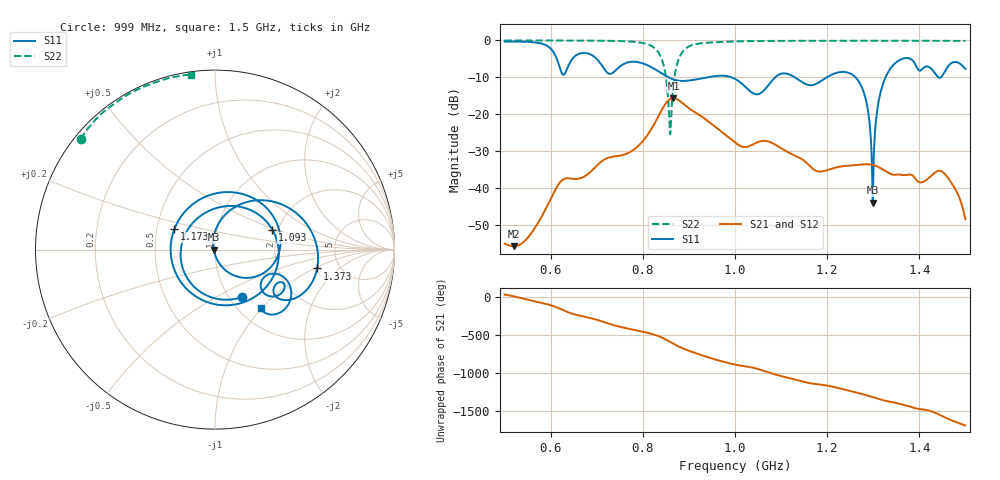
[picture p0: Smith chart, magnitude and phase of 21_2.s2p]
! TOUCHSTONE file generated by CST MICROWAVE STUDIO
! Date and time: Mon Nov 30 09:08:33 2020
! Project name: Scenario_1_Planar_Body_Tissue_Out_of_Line_v2.cst
! Parameters = {dy1=0; L_HA=400; Ltissue=700; MT=2.54; Rad_Dielectric=30; Rad_Lower=7.3; Rad_Upper=30; Wtissue=700; a_HA=580; a_WG=246; b_HA=500; b_WG=121; c_HA=0; c_WG=187; d_feed=85; dx1=346; h_feed=15; h_lower=18; h_upper=40; hfat=3; hgap=25; hmuscle=50; hskin=1.5}
! Header version: 2018
! Port assignment regex: !\s*Touchstone port\s*([0-9]+)\s*=\s*(CST MWS port|CST DS port)\s*([0-9]+|Zmin|Zmax)\s*\(\"(.*)\"\)(\s*mode\s*([0-9]+))?.*
! Touchstone port assignment:
! Touchstone port 1 = CST MWS port 1 ("")
! Touchstone port 2 = CST MWS port 2 ("")
# GHz S DB R 50
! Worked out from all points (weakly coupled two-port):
!   1003 points, 500 MHz to 1.5 GHz, reference 50 ohm
!   highest |S21| = -15.65 dB at 866.5 MHz (marker M1); lowest = -55.7 dB at 520 MHz (marker M2)
!   lowest |S11| = -43.9 dB at 1.299 GHz (marker M3), VSWR 1.01, Z = 49.4 - j0.0504 ohm
!   |S11| at or under -10 dB: 855.9 MHz to 940.1 MHz (84.24 MHz wide, 9.38 % of centre); 992.6 MHz to 1.087 GHz (94.51 MHz wide, 9.09 % of centre); 1.13 GHz to 1.199 GHz (69.27 MHz wide, 5.95 % of centre)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
!   |S22| runs from -25.4 to 0.0 dB; largest |S21 - S12| = 5.1e-05
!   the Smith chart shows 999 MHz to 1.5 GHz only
!   S11 on the Smith chart (normalised r, x): 999 MHz: 1.15, -0.67; 1.093 GHz: 1.87, +0.47; 1.173 GHz: 0.62, +0.15; 1.373 GHz: 3.38, -1.07; 1.5 GHz: 1.25, -0.98
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0.5  -0.30 -121.7  -55.02 35.9  -55.02 35.9  -0.01 151.1
0.52  -0.30 -130.3  -55.71 12.0  -55.70 12.0  -0.01 149.8
0.667  -3.44 156.9  -37.21 112.4  -37.21 112.5  -0.04 138.4
0.716  -7.68 26.2  -32.27 32.3  -32.27 32.3  -0.09 132.8
0.74  -8.21 -94.8  -31.39 -13.3  -31.39 -13.3  -0.14 129.3
0.769  -5.91 176.0  -30.43 -54.8  -30.43 -54.8  -0.27 123.4
0.834  -8.38 26.8  -20.50 -151.9  -20.50 -151.9  -3.30 85.7
0.858  -10.13 -41.4  -15.98 136.4  -15.98 136.4  -22.92 1.8
0.8665  -10.57 -68.2  -15.65 107.2  -15.65 107.2  -11.93 -137.5
0.935  -10.12 86.1  -21.26 -58.1  -21.27 -58.1  -0.67 152.4
0.999  -10.35 -60.3  -27.49 -165.3  -27.49 -165.3  -0.28 140.5
1  -10.41 -62.7  -27.59 -166.6  -27.59 -166.6  -0.28 140.3
1.042  -14.46 176.6  -27.95 147.7  -27.95 147.7  -0.18 135.2
1.093  -9.41 19.1  -28.63 52.9  -28.63 52.9  -0.12 130.3
1.167  -12.11 171.5  -34.56 -56.9  -34.56 -56.9  -0.10 124.2
1.173  -11.92 153.2  -35.13 -61.8  -35.12 -61.8  -0.10 123.7
1.264  -10.35 -24.8  -33.73 -175.9  -33.73 -175.9  -0.08 116.8
1.299  -43.91 -175.4  -33.71 123.3  -33.71 123.3  -0.08 114.1
1.334  -8.27 45.4  -35.93 66.1  -35.93 66.1  -0.09 111.5
1.373  -4.76 -10.5  -36.43 12.4  -36.43 12.3  -0.09 108.5
1.451  -9.37 -23.3  -35.65 -130.1  -35.65 -130.1  -0.11 102.2
1.5  -7.71 -52.0  -48.40 110.7  -48.40 110.7  -0.13 97.9
